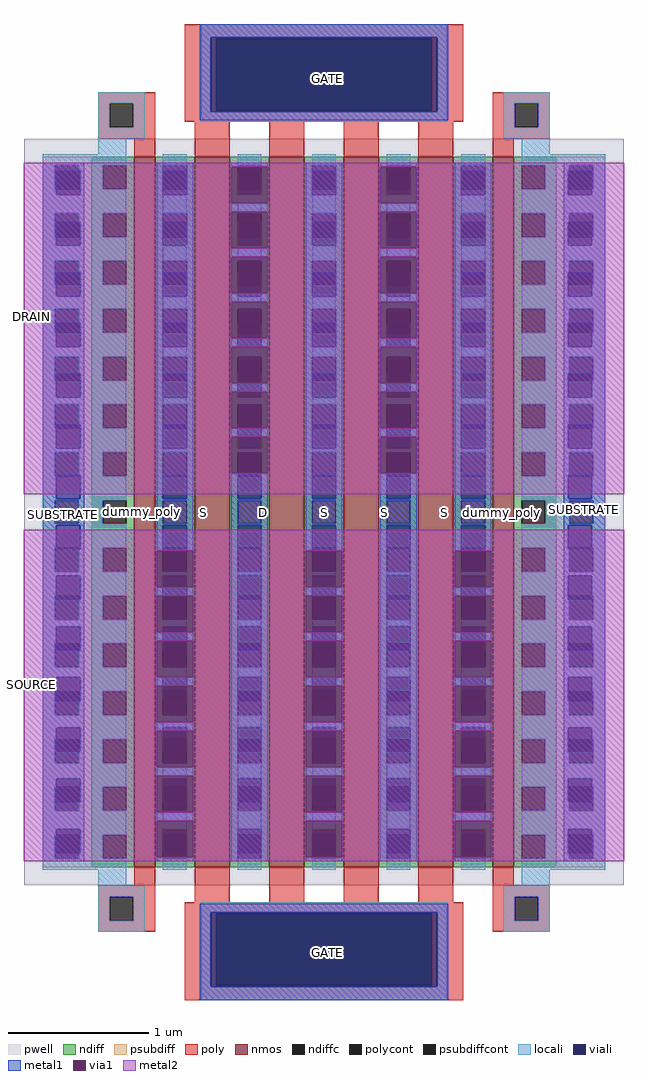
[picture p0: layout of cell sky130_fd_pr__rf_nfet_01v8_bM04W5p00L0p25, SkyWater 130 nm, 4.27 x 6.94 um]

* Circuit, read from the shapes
.subckt sky130_fd_pr__rf_nfet_01v8_bM04W5p00L0p25 DRAIN GATE SOURCE SUBSTRATE
XM1 SOURCE SUBSTRATE SUBSTRATE SUBSTRATE sky130_fd_pr__nfet_01v8 w=5.05 l=0.15 m=2
XM2 DRAIN GATE SOURCE SUBSTRATE sky130_fd_pr__nfet_01v8 w=5.05 l=0.25 m=4
.ends

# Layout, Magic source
magic
tech sky130A
magscale 1 2
<< pwell >>
rect 15 163 867 1225
<< nmos >>
rect 171 189 201 1199
rect 257 189 307 1199
rect 363 189 413 1199
rect 469 189 519 1199
rect 575 189 625 1199
rect 681 189 711 1199
<< ndiff >>
rect 111 1187 171 1199
rect 111 1153 126 1187
rect 160 1153 171 1187
rect 111 1119 171 1153
rect 111 1085 126 1119
rect 160 1085 171 1119
rect 111 1051 171 1085
rect 111 1017 126 1051
rect 160 1017 171 1051
rect 111 983 171 1017
rect 111 949 126 983
rect 160 949 171 983
rect 111 915 171 949
rect 111 881 126 915
rect 160 881 171 915
rect 111 847 171 881
rect 111 813 126 847
rect 160 813 171 847
rect 111 779 171 813
rect 111 745 126 779
rect 160 745 171 779
rect 111 711 171 745
rect 111 677 126 711
rect 160 677 171 711
rect 111 643 171 677
rect 111 609 126 643
rect 160 609 171 643
rect 111 575 171 609
rect 111 541 126 575
rect 160 541 171 575
rect 111 507 171 541
rect 111 473 126 507
rect 160 473 171 507
rect 111 439 171 473
rect 111 405 126 439
rect 160 405 171 439
rect 111 371 171 405
rect 111 337 126 371
rect 160 337 171 371
rect 111 303 171 337
rect 111 269 126 303
rect 160 269 171 303
rect 111 235 171 269
rect 111 201 126 235
rect 160 201 171 235
rect 111 189 171 201
rect 201 1187 257 1199
rect 201 1153 212 1187
rect 246 1153 257 1187
rect 201 1119 257 1153
rect 201 1085 212 1119
rect 246 1085 257 1119
rect 201 1051 257 1085
rect 201 1017 212 1051
rect 246 1017 257 1051
rect 201 983 257 1017
rect 201 949 212 983
rect 246 949 257 983
rect 201 915 257 949
rect 201 881 212 915
rect 246 881 257 915
rect 201 847 257 881
rect 201 813 212 847
rect 246 813 257 847
rect 201 779 257 813
rect 201 745 212 779
rect 246 745 257 779
rect 201 711 257 745
rect 201 677 212 711
rect 246 677 257 711
rect 201 643 257 677
rect 201 609 212 643
rect 246 609 257 643
rect 201 575 257 609
rect 201 541 212 575
rect 246 541 257 575
rect 201 507 257 541
rect 201 473 212 507
rect 246 473 257 507
rect 201 439 257 473
rect 201 405 212 439
rect 246 405 257 439
rect 201 371 257 405
rect 201 337 212 371
rect 246 337 257 371
rect 201 303 257 337
rect 201 269 212 303
rect 246 269 257 303
rect 201 235 257 269
rect 201 201 212 235
rect 246 201 257 235
rect 201 189 257 201
rect 307 1187 363 1199
rect 307 1153 318 1187
rect 352 1153 363 1187
rect 307 1119 363 1153
rect 307 1085 318 1119
rect 352 1085 363 1119
rect 307 1051 363 1085
rect 307 1017 318 1051
rect 352 1017 363 1051
rect 307 983 363 1017
rect 307 949 318 983
rect 352 949 363 983
rect 307 915 363 949
rect 307 881 318 915
rect 352 881 363 915
rect 307 847 363 881
rect 307 813 318 847
rect 352 813 363 847
rect 307 779 363 813
rect 307 745 318 779
rect 352 745 363 779
rect 307 711 363 745
rect 307 677 318 711
rect 352 677 363 711
rect 307 643 363 677
rect 307 609 318 643
rect 352 609 363 643
rect 307 575 363 609
rect 307 541 318 575
rect 352 541 363 575
rect 307 507 363 541
rect 307 473 318 507
rect 352 473 363 507
rect 307 439 363 473
rect 307 405 318 439
rect 352 405 363 439
rect 307 371 363 405
rect 307 337 318 371
rect 352 337 363 371
rect 307 303 363 337
rect 307 269 318 303
rect 352 269 363 303
rect 307 235 363 269
rect 307 201 318 235
rect 352 201 363 235
rect 307 189 363 201
rect 413 1187 469 1199
rect 413 1153 424 1187
rect 458 1153 469 1187
rect 413 1119 469 1153
rect 413 1085 424 1119
rect 458 1085 469 1119
rect 413 1051 469 1085
rect 413 1017 424 1051
rect 458 1017 469 1051
rect 413 983 469 1017
rect 413 949 424 983
rect 458 949 469 983
rect 413 915 469 949
rect 413 881 424 915
rect 458 881 469 915
rect 413 847 469 881
rect 413 813 424 847
rect 458 813 469 847
rect 413 779 469 813
rect 413 745 424 779
rect 458 745 469 779
rect 413 711 469 745
rect 413 677 424 711
rect 458 677 469 711
rect 413 643 469 677
rect 413 609 424 643
rect 458 609 469 643
rect 413 575 469 609
rect 413 541 424 575
rect 458 541 469 575
rect 413 507 469 541
rect 413 473 424 507
rect 458 473 469 507
rect 413 439 469 473
rect 413 405 424 439
rect 458 405 469 439
rect 413 371 469 405
rect 413 337 424 371
rect 458 337 469 371
rect 413 303 469 337
rect 413 269 424 303
rect 458 269 469 303
rect 413 235 469 269
rect 413 201 424 235
rect 458 201 469 235
rect 413 189 469 201
rect 519 1187 575 1199
rect 519 1153 530 1187
rect 564 1153 575 1187
rect 519 1119 575 1153
rect 519 1085 530 1119
rect 564 1085 575 1119
rect 519 1051 575 1085
rect 519 1017 530 1051
rect 564 1017 575 1051
rect 519 983 575 1017
rect 519 949 530 983
rect 564 949 575 983
rect 519 915 575 949
rect 519 881 530 915
rect 564 881 575 915
rect 519 847 575 881
rect 519 813 530 847
rect 564 813 575 847
rect 519 779 575 813
rect 519 745 530 779
rect 564 745 575 779
rect 519 711 575 745
rect 519 677 530 711
rect 564 677 575 711
rect 519 643 575 677
rect 519 609 530 643
rect 564 609 575 643
rect 519 575 575 609
rect 519 541 530 575
rect 564 541 575 575
rect 519 507 575 541
rect 519 473 530 507
rect 564 473 575 507
rect 519 439 575 473
rect 519 405 530 439
rect 564 405 575 439
rect 519 371 575 405
rect 519 337 530 371
rect 564 337 575 371
rect 519 303 575 337
rect 519 269 530 303
rect 564 269 575 303
rect 519 235 575 269
rect 519 201 530 235
rect 564 201 575 235
rect 519 189 575 201
rect 625 1187 681 1199
rect 625 1153 636 1187
rect 670 1153 681 1187
rect 625 1119 681 1153
rect 625 1085 636 1119
rect 670 1085 681 1119
rect 625 1051 681 1085
rect 625 1017 636 1051
rect 670 1017 681 1051
rect 625 983 681 1017
rect 625 949 636 983
rect 670 949 681 983
rect 625 915 681 949
rect 625 881 636 915
rect 670 881 681 915
rect 625 847 681 881
rect 625 813 636 847
rect 670 813 681 847
rect 625 779 681 813
rect 625 745 636 779
rect 670 745 681 779
rect 625 711 681 745
rect 625 677 636 711
rect 670 677 681 711
rect 625 643 681 677
rect 625 609 636 643
rect 670 609 681 643
rect 625 575 681 609
rect 625 541 636 575
rect 670 541 681 575
rect 625 507 681 541
rect 625 473 636 507
rect 670 473 681 507
rect 625 439 681 473
rect 625 405 636 439
rect 670 405 681 439
rect 625 371 681 405
rect 625 337 636 371
rect 670 337 681 371
rect 625 303 681 337
rect 625 269 636 303
rect 670 269 681 303
rect 625 235 681 269
rect 625 201 636 235
rect 670 201 681 235
rect 625 189 681 201
rect 711 1187 771 1199
rect 711 1153 722 1187
rect 756 1153 771 1187
rect 711 1119 771 1153
rect 711 1085 722 1119
rect 756 1085 771 1119
rect 711 1051 771 1085
rect 711 1017 722 1051
rect 756 1017 771 1051
rect 711 983 771 1017
rect 711 949 722 983
rect 756 949 771 983
rect 711 915 771 949
rect 711 881 722 915
rect 756 881 771 915
rect 711 847 771 881
rect 711 813 722 847
rect 756 813 771 847
rect 711 779 771 813
rect 711 745 722 779
rect 756 745 771 779
rect 711 711 771 745
rect 711 677 722 711
rect 756 677 771 711
rect 711 643 771 677
rect 711 609 722 643
rect 756 609 771 643
rect 711 575 771 609
rect 711 541 722 575
rect 756 541 771 575
rect 711 507 771 541
rect 711 473 722 507
rect 756 473 771 507
rect 711 439 771 473
rect 711 405 722 439
rect 756 405 771 439
rect 711 371 771 405
rect 711 337 722 371
rect 756 337 771 371
rect 711 303 771 337
rect 711 269 722 303
rect 756 269 771 303
rect 711 235 771 269
rect 711 201 722 235
rect 756 201 771 235
rect 711 189 771 201
<< ndiffc >>
rect 126 1153 160 1187
rect 126 1085 160 1119
rect 126 1017 160 1051
rect 126 949 160 983
rect 126 881 160 915
rect 126 813 160 847
rect 126 745 160 779
rect 126 677 160 711
rect 126 609 160 643
rect 126 541 160 575
rect 126 473 160 507
rect 126 405 160 439
rect 126 337 160 371
rect 126 269 160 303
rect 126 201 160 235
rect 212 1153 246 1187
rect 212 1085 246 1119
rect 212 1017 246 1051
rect 212 949 246 983
rect 212 881 246 915
rect 212 813 246 847
rect 212 745 246 779
rect 212 677 246 711
rect 212 609 246 643
rect 212 541 246 575
rect 212 473 246 507
rect 212 405 246 439
rect 212 337 246 371
rect 212 269 246 303
rect 212 201 246 235
rect 318 1153 352 1187
rect 318 1085 352 1119
rect 318 1017 352 1051
rect 318 949 352 983
rect 318 881 352 915
rect 318 813 352 847
rect 318 745 352 779
rect 318 677 352 711
rect 318 609 352 643
rect 318 541 352 575
rect 318 473 352 507
rect 318 405 352 439
rect 318 337 352 371
rect 318 269 352 303
rect 318 201 352 235
rect 424 1153 458 1187
rect 424 1085 458 1119
rect 424 1017 458 1051
rect 424 949 458 983
rect 424 881 458 915
rect 424 813 458 847
rect 424 745 458 779
rect 424 677 458 711
rect 424 609 458 643
rect 424 541 458 575
rect 424 473 458 507
rect 424 405 458 439
rect 424 337 458 371
rect 424 269 458 303
rect 424 201 458 235
rect 530 1153 564 1187
rect 530 1085 564 1119
rect 530 1017 564 1051
rect 530 949 564 983
rect 530 881 564 915
rect 530 813 564 847
rect 530 745 564 779
rect 530 677 564 711
rect 530 609 564 643
rect 530 541 564 575
rect 530 473 564 507
rect 530 405 564 439
rect 530 337 564 371
rect 530 269 564 303
rect 530 201 564 235
rect 636 1153 670 1187
rect 636 1085 670 1119
rect 636 1017 670 1051
rect 636 949 670 983
rect 636 881 670 915
rect 636 813 670 847
rect 636 745 670 779
rect 636 677 670 711
rect 636 609 670 643
rect 636 541 670 575
rect 636 473 670 507
rect 636 405 670 439
rect 636 337 670 371
rect 636 269 670 303
rect 636 201 670 235
rect 722 1153 756 1187
rect 722 1085 756 1119
rect 722 1017 756 1051
rect 722 949 756 983
rect 722 881 756 915
rect 722 813 756 847
rect 722 745 756 779
rect 722 677 756 711
rect 722 609 756 643
rect 722 541 756 575
rect 722 473 756 507
rect 722 405 756 439
rect 722 337 756 371
rect 722 269 756 303
rect 722 201 756 235
<< psubdiff >>
rect 41 1187 111 1199
rect 41 1153 58 1187
rect 92 1153 111 1187
rect 41 1119 111 1153
rect 41 1085 58 1119
rect 92 1085 111 1119
rect 41 1051 111 1085
rect 41 1017 58 1051
rect 92 1017 111 1051
rect 41 983 111 1017
rect 41 949 58 983
rect 92 949 111 983
rect 41 915 111 949
rect 41 881 58 915
rect 92 881 111 915
rect 41 847 111 881
rect 41 813 58 847
rect 92 813 111 847
rect 41 779 111 813
rect 41 745 58 779
rect 92 745 111 779
rect 41 711 111 745
rect 41 677 58 711
rect 92 677 111 711
rect 41 643 111 677
rect 41 609 58 643
rect 92 609 111 643
rect 41 575 111 609
rect 41 541 58 575
rect 92 541 111 575
rect 41 507 111 541
rect 41 473 58 507
rect 92 473 111 507
rect 41 439 111 473
rect 41 405 58 439
rect 92 405 111 439
rect 41 371 111 405
rect 41 337 58 371
rect 92 337 111 371
rect 41 303 111 337
rect 41 269 58 303
rect 92 269 111 303
rect 41 235 111 269
rect 41 201 58 235
rect 92 201 111 235
rect 41 189 111 201
rect 771 1187 841 1199
rect 771 1153 790 1187
rect 824 1153 841 1187
rect 771 1119 841 1153
rect 771 1085 790 1119
rect 824 1085 841 1119
rect 771 1051 841 1085
rect 771 1017 790 1051
rect 824 1017 841 1051
rect 771 983 841 1017
rect 771 949 790 983
rect 824 949 841 983
rect 771 915 841 949
rect 771 881 790 915
rect 824 881 841 915
rect 771 847 841 881
rect 771 813 790 847
rect 824 813 841 847
rect 771 779 841 813
rect 771 745 790 779
rect 824 745 841 779
rect 771 711 841 745
rect 771 677 790 711
rect 824 677 841 711
rect 771 643 841 677
rect 771 609 790 643
rect 824 609 841 643
rect 771 575 841 609
rect 771 541 790 575
rect 824 541 841 575
rect 771 507 841 541
rect 771 473 790 507
rect 824 473 841 507
rect 771 439 841 473
rect 771 405 790 439
rect 824 405 841 439
rect 771 371 841 405
rect 771 337 790 371
rect 824 337 841 371
rect 771 303 841 337
rect 771 269 790 303
rect 824 269 841 303
rect 771 235 841 269
rect 771 201 790 235
rect 824 201 841 235
rect 771 189 841 201
<< psubdiffcont >>
rect 58 1153 92 1187
rect 58 1085 92 1119
rect 58 1017 92 1051
rect 58 949 92 983
rect 58 881 92 915
rect 58 813 92 847
rect 58 745 92 779
rect 58 677 92 711
rect 58 609 92 643
rect 58 541 92 575
rect 58 473 92 507
rect 58 405 92 439
rect 58 337 92 371
rect 58 269 92 303
rect 58 201 92 235
rect 790 1153 824 1187
rect 790 1085 824 1119
rect 790 1017 824 1051
rect 790 949 824 983
rect 790 881 824 915
rect 790 813 824 847
rect 790 745 824 779
rect 790 677 824 711
rect 790 609 824 643
rect 790 541 824 575
rect 790 473 824 507
rect 790 405 824 439
rect 790 337 824 371
rect 790 269 824 303
rect 790 201 824 235
<< poly >>
rect 243 1367 639 1388
rect 120 1275 201 1291
rect 120 1241 136 1275
rect 170 1241 201 1275
rect 243 1265 288 1367
rect 594 1265 639 1367
rect 243 1249 639 1265
rect 681 1275 762 1291
rect 120 1225 201 1241
rect 171 1199 201 1225
rect 257 1199 307 1249
rect 363 1199 413 1249
rect 469 1199 519 1249
rect 575 1199 625 1249
rect 681 1241 712 1275
rect 746 1241 762 1275
rect 681 1225 762 1241
rect 681 1199 711 1225
rect 171 163 201 189
rect 120 147 201 163
rect 120 113 136 147
rect 170 113 201 147
rect 257 139 307 189
rect 363 139 413 189
rect 469 139 519 189
rect 575 139 625 189
rect 681 163 711 189
rect 681 147 762 163
rect 120 97 201 113
rect 243 123 639 139
rect 243 21 288 123
rect 594 21 639 123
rect 681 113 712 147
rect 746 113 762 147
rect 681 97 762 113
rect 243 0 639 21
<< polycont >>
rect 136 1241 170 1275
rect 288 1265 594 1367
rect 712 1241 746 1275
rect 136 113 170 147
rect 288 21 594 123
rect 712 113 746 147
<< locali >>
rect 266 1369 616 1388
rect 120 1275 186 1291
rect 120 1241 136 1275
rect 170 1241 186 1275
rect 266 1263 280 1369
rect 602 1263 616 1369
rect 266 1249 616 1263
rect 696 1275 762 1291
rect 120 1225 186 1241
rect 696 1241 712 1275
rect 746 1241 762 1275
rect 696 1225 762 1241
rect 120 1203 160 1225
rect 722 1203 762 1225
rect 41 1187 160 1203
rect 41 1153 58 1187
rect 92 1179 126 1187
rect 94 1153 126 1179
rect 41 1145 60 1153
rect 94 1145 160 1153
rect 41 1119 160 1145
rect 41 1085 58 1119
rect 92 1107 126 1119
rect 94 1085 126 1107
rect 41 1073 60 1085
rect 94 1073 160 1085
rect 41 1051 160 1073
rect 41 1017 58 1051
rect 92 1035 126 1051
rect 94 1017 126 1035
rect 41 1001 60 1017
rect 94 1001 160 1017
rect 41 983 160 1001
rect 41 949 58 983
rect 92 963 126 983
rect 94 949 126 963
rect 41 929 60 949
rect 94 929 160 949
rect 41 915 160 929
rect 41 881 58 915
rect 92 891 126 915
rect 94 881 126 891
rect 41 857 60 881
rect 94 857 160 881
rect 41 847 160 857
rect 41 813 58 847
rect 92 819 126 847
rect 94 813 126 819
rect 41 785 60 813
rect 94 785 160 813
rect 41 779 160 785
rect 41 745 58 779
rect 92 747 126 779
rect 94 745 126 747
rect 41 713 60 745
rect 94 713 160 745
rect 41 711 160 713
rect 41 677 58 711
rect 92 677 126 711
rect 41 675 160 677
rect 41 643 60 675
rect 94 643 160 675
rect 41 609 58 643
rect 94 641 126 643
rect 92 609 126 641
rect 41 603 160 609
rect 41 575 60 603
rect 94 575 160 603
rect 41 541 58 575
rect 94 569 126 575
rect 92 541 126 569
rect 41 531 160 541
rect 41 507 60 531
rect 94 507 160 531
rect 41 473 58 507
rect 94 497 126 507
rect 92 473 126 497
rect 41 459 160 473
rect 41 439 60 459
rect 94 439 160 459
rect 41 405 58 439
rect 94 425 126 439
rect 92 405 126 425
rect 41 387 160 405
rect 41 371 60 387
rect 94 371 160 387
rect 41 337 58 371
rect 94 353 126 371
rect 92 337 126 353
rect 41 315 160 337
rect 41 303 60 315
rect 94 303 160 315
rect 41 269 58 303
rect 94 281 126 303
rect 92 269 126 281
rect 41 243 160 269
rect 41 235 60 243
rect 94 235 160 243
rect 41 201 58 235
rect 94 209 126 235
rect 92 201 126 209
rect 41 185 160 201
rect 212 1187 246 1203
rect 212 1119 246 1145
rect 212 1051 246 1073
rect 212 983 246 1001
rect 212 915 246 929
rect 212 847 246 857
rect 212 779 246 785
rect 212 711 246 713
rect 212 675 246 677
rect 212 603 246 609
rect 212 531 246 541
rect 212 459 246 473
rect 212 387 246 405
rect 212 315 246 337
rect 212 243 246 269
rect 212 185 246 201
rect 318 1187 352 1203
rect 318 1119 352 1145
rect 318 1051 352 1073
rect 318 983 352 1001
rect 318 915 352 929
rect 318 847 352 857
rect 318 779 352 785
rect 318 711 352 713
rect 318 675 352 677
rect 318 603 352 609
rect 318 531 352 541
rect 318 459 352 473
rect 318 387 352 405
rect 318 315 352 337
rect 318 243 352 269
rect 318 185 352 201
rect 424 1187 458 1203
rect 424 1119 458 1145
rect 424 1051 458 1073
rect 424 983 458 1001
rect 424 915 458 929
rect 424 847 458 857
rect 424 779 458 785
rect 424 711 458 713
rect 424 675 458 677
rect 424 603 458 609
rect 424 531 458 541
rect 424 459 458 473
rect 424 387 458 405
rect 424 315 458 337
rect 424 243 458 269
rect 424 185 458 201
rect 530 1187 564 1203
rect 530 1119 564 1145
rect 530 1051 564 1073
rect 530 983 564 1001
rect 530 915 564 929
rect 530 847 564 857
rect 530 779 564 785
rect 530 711 564 713
rect 530 675 564 677
rect 530 603 564 609
rect 530 531 564 541
rect 530 459 564 473
rect 530 387 564 405
rect 530 315 564 337
rect 530 243 564 269
rect 530 185 564 201
rect 636 1187 670 1203
rect 636 1119 670 1145
rect 636 1051 670 1073
rect 636 983 670 1001
rect 636 915 670 929
rect 636 847 670 857
rect 636 779 670 785
rect 636 711 670 713
rect 636 675 670 677
rect 636 603 670 609
rect 636 531 670 541
rect 636 459 670 473
rect 636 387 670 405
rect 636 315 670 337
rect 636 243 670 269
rect 636 185 670 201
rect 722 1187 841 1203
rect 756 1179 790 1187
rect 756 1153 788 1179
rect 824 1153 841 1187
rect 722 1145 788 1153
rect 822 1145 841 1153
rect 722 1119 841 1145
rect 756 1107 790 1119
rect 756 1085 788 1107
rect 824 1085 841 1119
rect 722 1073 788 1085
rect 822 1073 841 1085
rect 722 1051 841 1073
rect 756 1035 790 1051
rect 756 1017 788 1035
rect 824 1017 841 1051
rect 722 1001 788 1017
rect 822 1001 841 1017
rect 722 983 841 1001
rect 756 963 790 983
rect 756 949 788 963
rect 824 949 841 983
rect 722 929 788 949
rect 822 929 841 949
rect 722 915 841 929
rect 756 891 790 915
rect 756 881 788 891
rect 824 881 841 915
rect 722 857 788 881
rect 822 857 841 881
rect 722 847 841 857
rect 756 819 790 847
rect 756 813 788 819
rect 824 813 841 847
rect 722 785 788 813
rect 822 785 841 813
rect 722 779 841 785
rect 756 747 790 779
rect 756 745 788 747
rect 824 745 841 779
rect 722 713 788 745
rect 822 713 841 745
rect 722 711 841 713
rect 756 677 790 711
rect 824 677 841 711
rect 722 675 841 677
rect 722 643 788 675
rect 822 643 841 675
rect 756 641 788 643
rect 756 609 790 641
rect 824 609 841 643
rect 722 603 841 609
rect 722 575 788 603
rect 822 575 841 603
rect 756 569 788 575
rect 756 541 790 569
rect 824 541 841 575
rect 722 531 841 541
rect 722 507 788 531
rect 822 507 841 531
rect 756 497 788 507
rect 756 473 790 497
rect 824 473 841 507
rect 722 459 841 473
rect 722 439 788 459
rect 822 439 841 459
rect 756 425 788 439
rect 756 405 790 425
rect 824 405 841 439
rect 722 387 841 405
rect 722 371 788 387
rect 822 371 841 387
rect 756 353 788 371
rect 756 337 790 353
rect 824 337 841 371
rect 722 315 841 337
rect 722 303 788 315
rect 822 303 841 315
rect 756 281 788 303
rect 756 269 790 281
rect 824 269 841 303
rect 722 243 841 269
rect 722 235 788 243
rect 822 235 841 243
rect 756 209 788 235
rect 756 201 790 209
rect 824 201 841 235
rect 722 185 841 201
rect 120 163 160 185
rect 722 163 762 185
rect 120 147 186 163
rect 120 113 136 147
rect 170 113 186 147
rect 696 147 762 163
rect 120 97 186 113
rect 266 125 616 139
rect 266 19 280 125
rect 602 19 616 125
rect 696 113 712 147
rect 746 113 762 147
rect 696 97 762 113
rect 266 0 616 19
<< viali >>
rect 280 1367 602 1369
rect 280 1265 288 1367
rect 288 1265 594 1367
rect 594 1265 602 1367
rect 280 1263 602 1265
rect 60 1153 92 1179
rect 92 1153 94 1179
rect 60 1145 94 1153
rect 60 1085 92 1107
rect 92 1085 94 1107
rect 60 1073 94 1085
rect 60 1017 92 1035
rect 92 1017 94 1035
rect 60 1001 94 1017
rect 60 949 92 963
rect 92 949 94 963
rect 60 929 94 949
rect 60 881 92 891
rect 92 881 94 891
rect 60 857 94 881
rect 60 813 92 819
rect 92 813 94 819
rect 60 785 94 813
rect 60 745 92 747
rect 92 745 94 747
rect 60 713 94 745
rect 60 643 94 675
rect 60 641 92 643
rect 92 641 94 643
rect 60 575 94 603
rect 60 569 92 575
rect 92 569 94 575
rect 60 507 94 531
rect 60 497 92 507
rect 92 497 94 507
rect 60 439 94 459
rect 60 425 92 439
rect 92 425 94 439
rect 60 371 94 387
rect 60 353 92 371
rect 92 353 94 371
rect 60 303 94 315
rect 60 281 92 303
rect 92 281 94 303
rect 60 235 94 243
rect 60 209 92 235
rect 92 209 94 235
rect 212 1153 246 1179
rect 212 1145 246 1153
rect 212 1085 246 1107
rect 212 1073 246 1085
rect 212 1017 246 1035
rect 212 1001 246 1017
rect 212 949 246 963
rect 212 929 246 949
rect 212 881 246 891
rect 212 857 246 881
rect 212 813 246 819
rect 212 785 246 813
rect 212 745 246 747
rect 212 713 246 745
rect 212 643 246 675
rect 212 641 246 643
rect 212 575 246 603
rect 212 569 246 575
rect 212 507 246 531
rect 212 497 246 507
rect 212 439 246 459
rect 212 425 246 439
rect 212 371 246 387
rect 212 353 246 371
rect 212 303 246 315
rect 212 281 246 303
rect 212 235 246 243
rect 212 209 246 235
rect 318 1153 352 1179
rect 318 1145 352 1153
rect 318 1085 352 1107
rect 318 1073 352 1085
rect 318 1017 352 1035
rect 318 1001 352 1017
rect 318 949 352 963
rect 318 929 352 949
rect 318 881 352 891
rect 318 857 352 881
rect 318 813 352 819
rect 318 785 352 813
rect 318 745 352 747
rect 318 713 352 745
rect 318 643 352 675
rect 318 641 352 643
rect 318 575 352 603
rect 318 569 352 575
rect 318 507 352 531
rect 318 497 352 507
rect 318 439 352 459
rect 318 425 352 439
rect 318 371 352 387
rect 318 353 352 371
rect 318 303 352 315
rect 318 281 352 303
rect 318 235 352 243
rect 318 209 352 235
rect 424 1153 458 1179
rect 424 1145 458 1153
rect 424 1085 458 1107
rect 424 1073 458 1085
rect 424 1017 458 1035
rect 424 1001 458 1017
rect 424 949 458 963
rect 424 929 458 949
rect 424 881 458 891
rect 424 857 458 881
rect 424 813 458 819
rect 424 785 458 813
rect 424 745 458 747
rect 424 713 458 745
rect 424 643 458 675
rect 424 641 458 643
rect 424 575 458 603
rect 424 569 458 575
rect 424 507 458 531
rect 424 497 458 507
rect 424 439 458 459
rect 424 425 458 439
rect 424 371 458 387
rect 424 353 458 371
rect 424 303 458 315
rect 424 281 458 303
rect 424 235 458 243
rect 424 209 458 235
rect 530 1153 564 1179
rect 530 1145 564 1153
rect 530 1085 564 1107
rect 530 1073 564 1085
rect 530 1017 564 1035
rect 530 1001 564 1017
rect 530 949 564 963
rect 530 929 564 949
rect 530 881 564 891
rect 530 857 564 881
rect 530 813 564 819
rect 530 785 564 813
rect 530 745 564 747
rect 530 713 564 745
rect 530 643 564 675
rect 530 641 564 643
rect 530 575 564 603
rect 530 569 564 575
rect 530 507 564 531
rect 530 497 564 507
rect 530 439 564 459
rect 530 425 564 439
rect 530 371 564 387
rect 530 353 564 371
rect 530 303 564 315
rect 530 281 564 303
rect 530 235 564 243
rect 530 209 564 235
rect 636 1153 670 1179
rect 636 1145 670 1153
rect 636 1085 670 1107
rect 636 1073 670 1085
rect 636 1017 670 1035
rect 636 1001 670 1017
rect 636 949 670 963
rect 636 929 670 949
rect 636 881 670 891
rect 636 857 670 881
rect 636 813 670 819
rect 636 785 670 813
rect 636 745 670 747
rect 636 713 670 745
rect 636 643 670 675
rect 636 641 670 643
rect 636 575 670 603
rect 636 569 670 575
rect 636 507 670 531
rect 636 497 670 507
rect 636 439 670 459
rect 636 425 670 439
rect 636 371 670 387
rect 636 353 670 371
rect 636 303 670 315
rect 636 281 670 303
rect 636 235 670 243
rect 636 209 670 235
rect 788 1153 790 1179
rect 790 1153 822 1179
rect 788 1145 822 1153
rect 788 1085 790 1107
rect 790 1085 822 1107
rect 788 1073 822 1085
rect 788 1017 790 1035
rect 790 1017 822 1035
rect 788 1001 822 1017
rect 788 949 790 963
rect 790 949 822 963
rect 788 929 822 949
rect 788 881 790 891
rect 790 881 822 891
rect 788 857 822 881
rect 788 813 790 819
rect 790 813 822 819
rect 788 785 822 813
rect 788 745 790 747
rect 790 745 822 747
rect 788 713 822 745
rect 788 643 822 675
rect 788 641 790 643
rect 790 641 822 643
rect 788 575 822 603
rect 788 569 790 575
rect 790 569 822 575
rect 788 507 822 531
rect 788 497 790 507
rect 790 497 822 507
rect 788 439 822 459
rect 788 425 790 439
rect 790 425 822 439
rect 788 371 822 387
rect 788 353 790 371
rect 790 353 822 371
rect 788 303 822 315
rect 788 281 790 303
rect 790 281 822 303
rect 788 235 822 243
rect 788 209 790 235
rect 790 209 822 235
rect 280 123 602 125
rect 280 21 288 123
rect 288 21 594 123
rect 594 21 602 123
rect 280 19 602 21
<< metal1 >>
rect 264 1369 618 1388
rect 264 1263 280 1369
rect 602 1263 618 1369
rect 264 1251 618 1263
rect 41 1179 100 1191
rect 41 1145 60 1179
rect 94 1145 100 1179
rect 41 1107 100 1145
rect 41 1073 60 1107
rect 94 1073 100 1107
rect 41 1035 100 1073
rect 41 1001 60 1035
rect 94 1001 100 1035
rect 41 963 100 1001
rect 41 929 60 963
rect 94 929 100 963
rect 41 891 100 929
rect 41 857 60 891
rect 94 857 100 891
rect 41 819 100 857
rect 41 785 60 819
rect 94 785 100 819
rect 41 747 100 785
rect 41 713 60 747
rect 94 713 100 747
rect 41 675 100 713
rect 41 641 60 675
rect 94 641 100 675
rect 41 603 100 641
rect 41 569 60 603
rect 94 569 100 603
rect 41 531 100 569
rect 41 497 60 531
rect 94 497 100 531
rect 41 459 100 497
rect 41 425 60 459
rect 94 425 100 459
rect 41 387 100 425
rect 41 353 60 387
rect 94 353 100 387
rect 41 315 100 353
rect 41 281 60 315
rect 94 281 100 315
rect 41 243 100 281
rect 41 209 60 243
rect 94 209 100 243
rect 41 197 100 209
rect 203 1179 255 1191
rect 203 1145 212 1179
rect 246 1145 255 1179
rect 203 1107 255 1145
rect 203 1073 212 1107
rect 246 1073 255 1107
rect 203 1035 255 1073
rect 203 1001 212 1035
rect 246 1001 255 1035
rect 203 963 255 1001
rect 203 929 212 963
rect 246 929 255 963
rect 203 891 255 929
rect 203 857 212 891
rect 246 857 255 891
rect 203 819 255 857
rect 203 785 212 819
rect 246 785 255 819
rect 203 747 255 785
rect 203 713 212 747
rect 246 713 255 747
rect 203 675 255 713
rect 203 641 212 675
rect 246 641 255 675
rect 203 639 255 641
rect 203 575 212 587
rect 246 575 255 587
rect 203 511 212 523
rect 246 511 255 523
rect 203 447 212 459
rect 246 447 255 459
rect 203 387 255 395
rect 203 383 212 387
rect 246 383 255 387
rect 203 319 255 331
rect 203 255 255 267
rect 203 197 255 203
rect 309 1185 361 1191
rect 309 1121 361 1133
rect 309 1057 361 1069
rect 309 1001 318 1005
rect 352 1001 361 1005
rect 309 993 361 1001
rect 309 929 318 941
rect 352 929 361 941
rect 309 865 318 877
rect 352 865 361 877
rect 309 801 318 813
rect 352 801 361 813
rect 309 747 361 749
rect 309 713 318 747
rect 352 713 361 747
rect 309 675 361 713
rect 309 641 318 675
rect 352 641 361 675
rect 309 603 361 641
rect 309 569 318 603
rect 352 569 361 603
rect 309 531 361 569
rect 309 497 318 531
rect 352 497 361 531
rect 309 459 361 497
rect 309 425 318 459
rect 352 425 361 459
rect 309 387 361 425
rect 309 353 318 387
rect 352 353 361 387
rect 309 315 361 353
rect 309 281 318 315
rect 352 281 361 315
rect 309 243 361 281
rect 309 209 318 243
rect 352 209 361 243
rect 309 197 361 209
rect 415 1179 467 1191
rect 415 1145 424 1179
rect 458 1145 467 1179
rect 415 1107 467 1145
rect 415 1073 424 1107
rect 458 1073 467 1107
rect 415 1035 467 1073
rect 415 1001 424 1035
rect 458 1001 467 1035
rect 415 963 467 1001
rect 415 929 424 963
rect 458 929 467 963
rect 415 891 467 929
rect 415 857 424 891
rect 458 857 467 891
rect 415 819 467 857
rect 415 785 424 819
rect 458 785 467 819
rect 415 747 467 785
rect 415 713 424 747
rect 458 713 467 747
rect 415 675 467 713
rect 415 641 424 675
rect 458 641 467 675
rect 415 639 467 641
rect 415 575 424 587
rect 458 575 467 587
rect 415 511 424 523
rect 458 511 467 523
rect 415 447 424 459
rect 458 447 467 459
rect 415 387 467 395
rect 415 383 424 387
rect 458 383 467 387
rect 415 319 467 331
rect 415 255 467 267
rect 415 197 467 203
rect 521 1185 573 1191
rect 521 1121 573 1133
rect 521 1057 573 1069
rect 521 1001 530 1005
rect 564 1001 573 1005
rect 521 993 573 1001
rect 521 929 530 941
rect 564 929 573 941
rect 521 865 530 877
rect 564 865 573 877
rect 521 801 530 813
rect 564 801 573 813
rect 521 747 573 749
rect 521 713 530 747
rect 564 713 573 747
rect 521 675 573 713
rect 521 641 530 675
rect 564 641 573 675
rect 521 603 573 641
rect 521 569 530 603
rect 564 569 573 603
rect 521 531 573 569
rect 521 497 530 531
rect 564 497 573 531
rect 521 459 573 497
rect 521 425 530 459
rect 564 425 573 459
rect 521 387 573 425
rect 521 353 530 387
rect 564 353 573 387
rect 521 315 573 353
rect 521 281 530 315
rect 564 281 573 315
rect 521 243 573 281
rect 521 209 530 243
rect 564 209 573 243
rect 521 197 573 209
rect 627 1179 679 1191
rect 627 1145 636 1179
rect 670 1145 679 1179
rect 627 1107 679 1145
rect 627 1073 636 1107
rect 670 1073 679 1107
rect 627 1035 679 1073
rect 627 1001 636 1035
rect 670 1001 679 1035
rect 627 963 679 1001
rect 627 929 636 963
rect 670 929 679 963
rect 627 891 679 929
rect 627 857 636 891
rect 670 857 679 891
rect 627 819 679 857
rect 627 785 636 819
rect 670 785 679 819
rect 627 747 679 785
rect 627 713 636 747
rect 670 713 679 747
rect 627 675 679 713
rect 627 641 636 675
rect 670 641 679 675
rect 627 639 679 641
rect 627 575 636 587
rect 670 575 679 587
rect 627 511 636 523
rect 670 511 679 523
rect 627 447 636 459
rect 670 447 679 459
rect 627 387 679 395
rect 627 383 636 387
rect 670 383 679 387
rect 627 319 679 331
rect 627 255 679 267
rect 627 197 679 203
rect 782 1179 841 1191
rect 782 1145 788 1179
rect 822 1145 841 1179
rect 782 1107 841 1145
rect 782 1073 788 1107
rect 822 1073 841 1107
rect 782 1035 841 1073
rect 782 1001 788 1035
rect 822 1001 841 1035
rect 782 963 841 1001
rect 782 929 788 963
rect 822 929 841 963
rect 782 891 841 929
rect 782 857 788 891
rect 822 857 841 891
rect 782 819 841 857
rect 782 785 788 819
rect 822 785 841 819
rect 782 747 841 785
rect 782 713 788 747
rect 822 713 841 747
rect 782 675 841 713
rect 782 641 788 675
rect 822 641 841 675
rect 782 603 841 641
rect 782 569 788 603
rect 822 569 841 603
rect 782 531 841 569
rect 782 497 788 531
rect 822 497 841 531
rect 782 459 841 497
rect 782 425 788 459
rect 822 425 841 459
rect 782 387 841 425
rect 782 353 788 387
rect 822 353 841 387
rect 782 315 841 353
rect 782 281 788 315
rect 822 281 841 315
rect 782 243 841 281
rect 782 209 788 243
rect 822 209 841 243
rect 782 197 841 209
rect 264 125 618 137
rect 264 19 280 125
rect 602 19 618 125
rect 264 0 618 19
<< via1 >>
rect 203 603 255 639
rect 203 587 212 603
rect 212 587 246 603
rect 246 587 255 603
rect 203 569 212 575
rect 212 569 246 575
rect 246 569 255 575
rect 203 531 255 569
rect 203 523 212 531
rect 212 523 246 531
rect 246 523 255 531
rect 203 497 212 511
rect 212 497 246 511
rect 246 497 255 511
rect 203 459 255 497
rect 203 425 212 447
rect 212 425 246 447
rect 246 425 255 447
rect 203 395 255 425
rect 203 353 212 383
rect 212 353 246 383
rect 246 353 255 383
rect 203 331 255 353
rect 203 315 255 319
rect 203 281 212 315
rect 212 281 246 315
rect 246 281 255 315
rect 203 267 255 281
rect 203 243 255 255
rect 203 209 212 243
rect 212 209 246 243
rect 246 209 255 243
rect 203 203 255 209
rect 309 1179 361 1185
rect 309 1145 318 1179
rect 318 1145 352 1179
rect 352 1145 361 1179
rect 309 1133 361 1145
rect 309 1107 361 1121
rect 309 1073 318 1107
rect 318 1073 352 1107
rect 352 1073 361 1107
rect 309 1069 361 1073
rect 309 1035 361 1057
rect 309 1005 318 1035
rect 318 1005 352 1035
rect 352 1005 361 1035
rect 309 963 361 993
rect 309 941 318 963
rect 318 941 352 963
rect 352 941 361 963
rect 309 891 361 929
rect 309 877 318 891
rect 318 877 352 891
rect 352 877 361 891
rect 309 857 318 865
rect 318 857 352 865
rect 352 857 361 865
rect 309 819 361 857
rect 309 813 318 819
rect 318 813 352 819
rect 352 813 361 819
rect 309 785 318 801
rect 318 785 352 801
rect 352 785 361 801
rect 309 749 361 785
rect 415 603 467 639
rect 415 587 424 603
rect 424 587 458 603
rect 458 587 467 603
rect 415 569 424 575
rect 424 569 458 575
rect 458 569 467 575
rect 415 531 467 569
rect 415 523 424 531
rect 424 523 458 531
rect 458 523 467 531
rect 415 497 424 511
rect 424 497 458 511
rect 458 497 467 511
rect 415 459 467 497
rect 415 425 424 447
rect 424 425 458 447
rect 458 425 467 447
rect 415 395 467 425
rect 415 353 424 383
rect 424 353 458 383
rect 458 353 467 383
rect 415 331 467 353
rect 415 315 467 319
rect 415 281 424 315
rect 424 281 458 315
rect 458 281 467 315
rect 415 267 467 281
rect 415 243 467 255
rect 415 209 424 243
rect 424 209 458 243
rect 458 209 467 243
rect 415 203 467 209
rect 521 1179 573 1185
rect 521 1145 530 1179
rect 530 1145 564 1179
rect 564 1145 573 1179
rect 521 1133 573 1145
rect 521 1107 573 1121
rect 521 1073 530 1107
rect 530 1073 564 1107
rect 564 1073 573 1107
rect 521 1069 573 1073
rect 521 1035 573 1057
rect 521 1005 530 1035
rect 530 1005 564 1035
rect 564 1005 573 1035
rect 521 963 573 993
rect 521 941 530 963
rect 530 941 564 963
rect 564 941 573 963
rect 521 891 573 929
rect 521 877 530 891
rect 530 877 564 891
rect 564 877 573 891
rect 521 857 530 865
rect 530 857 564 865
rect 564 857 573 865
rect 521 819 573 857
rect 521 813 530 819
rect 530 813 564 819
rect 564 813 573 819
rect 521 785 530 801
rect 530 785 564 801
rect 564 785 573 801
rect 521 749 573 785
rect 627 603 679 639
rect 627 587 636 603
rect 636 587 670 603
rect 670 587 679 603
rect 627 569 636 575
rect 636 569 670 575
rect 670 569 679 575
rect 627 531 679 569
rect 627 523 636 531
rect 636 523 670 531
rect 670 523 679 531
rect 627 497 636 511
rect 636 497 670 511
rect 670 497 679 511
rect 627 459 679 497
rect 627 425 636 447
rect 636 425 670 447
rect 670 425 679 447
rect 627 395 679 425
rect 627 353 636 383
rect 636 353 670 383
rect 670 353 679 383
rect 627 331 679 353
rect 627 315 679 319
rect 627 281 636 315
rect 636 281 670 315
rect 670 281 679 315
rect 627 267 679 281
rect 627 243 679 255
rect 627 209 636 243
rect 636 209 670 243
rect 670 209 679 243
rect 627 203 679 209
<< metal2 >>
rect 14 1185 868 1191
rect 14 1133 309 1185
rect 361 1133 521 1185
rect 573 1133 868 1185
rect 14 1121 868 1133
rect 14 1069 309 1121
rect 361 1069 521 1121
rect 573 1069 868 1121
rect 14 1057 868 1069
rect 14 1005 309 1057
rect 361 1005 521 1057
rect 573 1005 868 1057
rect 14 993 868 1005
rect 14 941 309 993
rect 361 941 521 993
rect 573 941 868 993
rect 14 929 868 941
rect 14 877 309 929
rect 361 877 521 929
rect 573 877 868 929
rect 14 865 868 877
rect 14 813 309 865
rect 361 813 521 865
rect 573 813 868 865
rect 14 801 868 813
rect 14 749 309 801
rect 361 749 521 801
rect 573 749 868 801
rect 14 719 868 749
rect 14 639 868 669
rect 14 587 203 639
rect 255 587 415 639
rect 467 587 627 639
rect 679 587 868 639
rect 14 575 868 587
rect 14 523 203 575
rect 255 523 415 575
rect 467 523 627 575
rect 679 523 868 575
rect 14 511 868 523
rect 14 459 203 511
rect 255 459 415 511
rect 467 459 627 511
rect 679 459 868 511
rect 14 447 868 459
rect 14 395 203 447
rect 255 395 415 447
rect 467 395 627 447
rect 679 395 868 447
rect 14 383 868 395
rect 14 331 203 383
rect 255 331 415 383
rect 467 331 627 383
rect 679 331 868 383
rect 14 319 868 331
rect 14 267 203 319
rect 255 267 415 319
rect 467 267 627 319
rect 679 267 868 319
rect 14 255 868 267
rect 14 203 203 255
rect 255 203 415 255
rect 467 203 627 255
rect 679 203 868 255
rect 14 197 868 203
<< labels >>
flabel metal1 s 321 42 571 92 0 FreeSans 200 0 0 0 GATE
port 2 nsew
flabel metal1 s 321 1286 571 1336 0 FreeSans 200 0 0 0 GATE
port 2 nsew
flabel metal1 s 41 675 100 705 0 FreeSans 200 90 0 0 SUBSTRATE
port 4 nsew
flabel metal1 s 782 683 841 713 0 FreeSans 200 90 0 0 SUBSTRATE
port 4 nsew
flabel comment s 181 695 181 695 0 FreeSans 180 90 0 0 dummy_poly
flabel comment s 694 693 694 693 0 FreeSans 180 90 0 0 dummy_poly
flabel comment s 355 694 355 694 0 FreeSans 300 0 0 0 D
flabel comment s 269 694 269 694 0 FreeSans 300 0 0 0 S
flabel comment s 527 694 527 694 0 FreeSans 300 0 0 0 S
flabel comment s 441 694 441 694 0 FreeSans 300 0 0 0 S
flabel comment s 355 694 355 694 0 FreeSans 300 0 0 0 S
flabel comment s 269 694 269 694 0 FreeSans 300 0 0 0 S
flabel comment s 613 694 613 694 0 FreeSans 300 0 0 0 S
flabel comment s 527 694 527 694 0 FreeSans 300 0 0 0 D
flabel comment s 441 694 441 694 0 FreeSans 300 0 0 0 S
flabel metal2 s 14 384 35 512 7 FreeSans 300 180 0 0 SOURCE
port 3 nsew
flabel metal2 s 14 908 35 1036 7 FreeSans 300 180 0 0 DRAIN
port 1 nsew
<< properties >>
string GDS_FILE $PDKPATH/libs.ref/sky130_fd_pr/gds/sky130_fd_pr.gds
string GDS_END 5808906
string GDS_START 5780784
<< end >>
